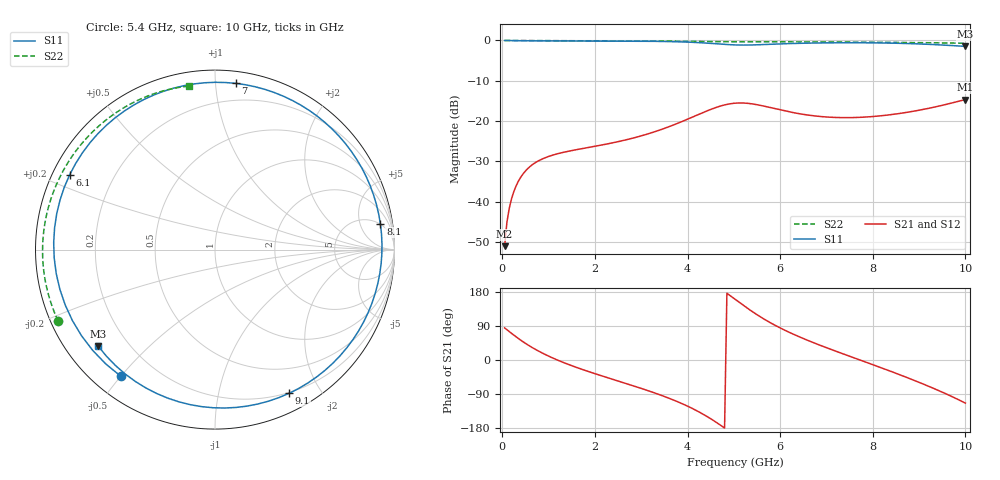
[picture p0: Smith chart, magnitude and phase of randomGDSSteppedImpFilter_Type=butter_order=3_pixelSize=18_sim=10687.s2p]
! freq	dB(S11)	phase(S11)	dB(S12)	phase(S12)
!  dB(S21)	phase(S21)	dB(S22)	phase(S22)
!S-par simulation data
#  GHz  S  DB  R 50
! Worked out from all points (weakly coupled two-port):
!   200 points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, 50 MHz to 10 GHz, reference 50 ohm
!   highest |S21| = -14.64 dB at 10 GHz (marker M1); lowest = -51.0 dB at 50 MHz (marker M2)
!   lowest |S11| = -1.5 dB at 10 GHz (marker M3), VSWR 11.84, Z = 4.77 - j17.9 ohm
!   |S11| at or under -10 dB: nowhere
!   |S22| runs from -0.7 to 0.0 dB; largest |S21 - S12| = 0
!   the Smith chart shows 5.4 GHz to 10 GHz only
!   S11 on the Smith chart (normalised r, x): 5.4 GHz: 0.08, -0.50; 6.1 GHz: 0.05, +0.24; 7 GHz: 0.08, +1.13; 8.1 GHz: 5, +11; 9.1 GHz: 0.19, -1.62; 10 GHz: 0.10, -0.36
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0.05  -0.01 -8.2  -50.99 84.7  -50.99 84.7  -0.00 -1.8
0.25  -0.06 -39.7  -37.42 65.5  -37.42 65.5  -0.01 -8.8
0.65  -0.10 -92.0  -30.78 32.6  -30.78 32.6  -0.03 -22.8
1.15  -0.11 -136.7  -28.21 2.0  -28.21 2.0  -0.06 -39.8
1.75  -0.12 -173.9  -26.75 -25.9  -26.75 -25.9  -0.08 -59.4
2.55  -0.15 146.1  -24.96 -57.4  -24.96 -57.4  -0.11 -83.8
3.4  -0.24 101.1  -22.21 -91.7  -22.21 -91.7  -0.16 -107.5
3.95  -0.39 62.5  -19.77 -118.9  -19.77 -118.9  -0.20 -121.8
4.45  -0.68 12.5  -17.32 -151.2  -17.32 -151.2  -0.26 -134.1
4.75  -0.93 -27.6  -16.13 -175.3  -16.13 -175.3  -0.31 -141.1
5.05  -1.12 -73.6  -15.53 158.1  -15.53 158.1  -0.34 -147.8
5.4  -1.12 -126.8  -15.73 127.6  -15.73 127.6  -0.35 -155.5
5.75  -0.97 -171.4  -16.54 101.0  -16.54 101.0  -0.35 -163.2
6.1  -0.81 152.8  -17.46 78.6  -17.46 78.6  -0.34 -170.9
6.7  -0.64 104.2  -18.64 46.7  -18.64 46.7  -0.36 175.8
7  -0.60 82.9  -18.97 32.5  -18.97 32.5  -0.37 169.2
7.5  -0.57 49.1  -19.13 9.9  -19.13 9.9  -0.40 158.1
8.1  -0.61 8.8  -18.76 -16.8  -18.76 -16.8  -0.45 144.5
8.35  -0.65 -8.4  -18.45 -28.1  -18.45 -28.1  -0.47 138.8
9.1  -0.91 -62.8  -17.07 -64.0  -17.07 -64.0  -0.55 121.1
9.55  -1.16 -99.0  -15.95 -87.5  -15.95 -87.5  -0.61 110.2
10  -1.47 -140.3  -14.64 -113.8  -14.64 -113.8  -0.70 99.0
